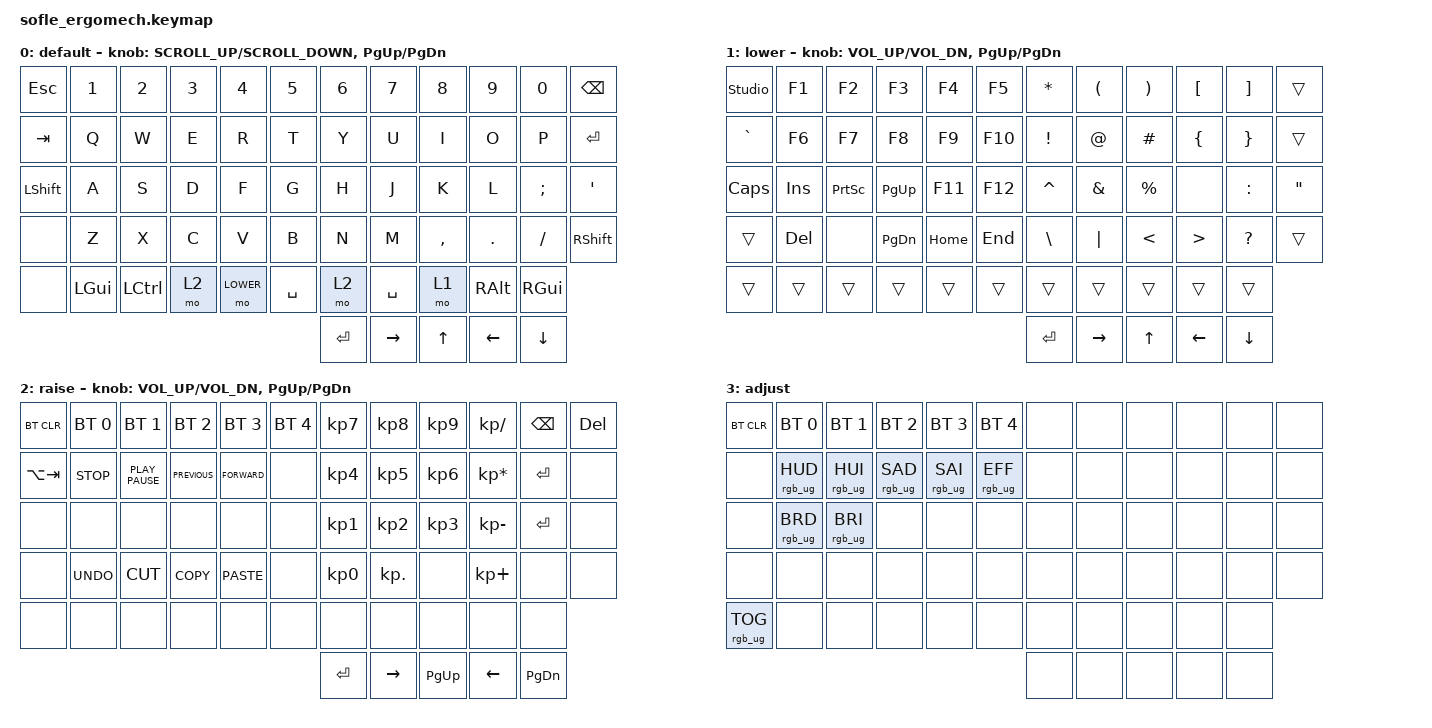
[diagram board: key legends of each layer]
/*
 * Copyright (c) 2020 The ZMK Contributors
 *
 * SPDX-License-Identifier: MIT
 */

#include <behaviors.dtsi>
#include <dt-bindings/zmk/bt.h>
#include <dt-bindings/zmk/keys.h>
#include <dt-bindings/zmk/rgb.h>

#define BASE 0
#define LOWER 1
#define RAISE 2
#define ADJUST 3

/ {
    // Activate ADJUST layer by pressing raise and lower

    conditional_layers {
        compatible = "zmk,conditional-layers";

        adjust_layer {
            if-layers = <LOWER RAISE>;
            then-layer = <ADJUST>;
        };
    };

    keymap {
        compatible = "zmk,keymap";

        default_layer {
            label = "default";

            // ------------------------------------------------------------------------------------------------------------
            // |   `   |  1  |  2  |  3   |  4   |  5   |                   |  6   |  7    |  8    |  9   |   0   |       |
            // |  ESC  |  Q  |  W  |  E   |  R   |  T   |                   |  Y   |  U    |  I    |  O   |   P   | BKSPC |
            // |  TAB  |  A  |  S  |  D   |  F   |  G   |                   |  H   |  J    |  K    |  L   |   ;   |   '   |
            // | SHIFT |  Z  |  X  |  C   |  V   |  B   |  MUTE  |  |       |  N   |  M    |  ,    |  .   |   /   | SHIFT |
            //               | GUI | ALT  | CTRL | LOWER|  ENTER |  | SPACE | RAISE| CTRL  | ALT   | GUI  |

            bindings = <
&kp ESCAPE      &kp N1    &kp N2            &kp N3  &kp N4     &kp N5     &kp N6     &kp N7     &kp N8        &kp N9    &kp N0    &kp BACKSPACE
&kp TAB         &kp Q     &kp W             &kp E   &kp R      &kp T      &kp Y      &kp U      &kp I         &kp O     &kp P     &kp ENTER
&kp LEFT_SHIFT  &kp A     &kp S             &kp D   &kp F      &kp G      &kp H      &kp J      &kp K         &kp L     &kp SEMI  &kp SQT
&none           &kp Z     &kp X             &kp C   &kp V      &kp B      &kp N      &kp M      &kp COMMA     &kp DOT   &kp FSLH  &kp RSHFT
&none           &kp LGUI  &kp LEFT_CONTROL  &mo 2   &mo LOWER  &kp SPACE  &mo 2      &kp SPACE  &mo 1         &kp RALT  &kp RGUI
                                                                          &kp ENTER  &kp RIGHT  &kp UP_ARROW  &kp LEFT  &kp DOWN
            >;

            sensor-bindings =
                <&inc_dec_kp K_SCROLL_UP K_SCROLL_DOWN>,
                <&inc_dec_kp PG_UP PG_DN>;
        };

        lower_layer {
            label = "lower";

            // TODO: Some binds are waiting for shifted keycode support.
            // ------------------------------------------------------------------------------------------------------------
            // |       |  F1 |  F2 |  F3  |  F4  |  F5  |                   |  F6  |  F7   |  F8   |  F9  |  F10  |  F11  |
            // |   `   |  1  |  2  |  3   |  4   |  5   |                   |  6   |  7    |  8    |  9   |   0   |  F12  |
            // |       |  !  |  @  |  #   |  $   |  %   |                   |  ^   |  &    |  *    |  (   |   )   |   |   |
            // |       |  =  |  -  |  +   |  {   |  }   |        |  |       |  [   |  ]    |  ;    |  :   |   \   |       |
            //               |     |      |      |      |        |  |       |      |       |       |      |

            bindings = <
&studio_unlock  &kp F1   &kp F2           &kp F3     &kp F4    &kp F5   &kp ASTERISK     &kp LEFT_PARENTHESIS  &kp RIGHT_PARENTHESIS  &kp LEFT_BRACKET  &kp RIGHT_BRACKET  &trans
&kp GRAVE       &kp F6   &kp F7           &kp F8     &kp F9    &kp F10  &kp EXCLAMATION  &kp AT_SIGN           &kp HASH               &kp LEFT_BRACE    &kp RIGHT_BRACE    &trans
&kp CAPSLOCK    &kp INS  &kp PRINTSCREEN  &kp PG_UP  &kp F11   &kp F12  &kp CARET        &kp AMPS              &kp PERCENT            &none             &kp COLON          &kp DOUBLE_QUOTES
&trans          &kp DEL  &none            &kp PG_DN  &kp HOME  &kp END  &kp BACKSLASH    &kp PIPE              &kp LESS_THAN          &kp GREATER_THAN  &kp QUESTION       &trans
&trans          &trans   &trans           &trans     &trans    &trans   &trans           &trans                &trans                 &trans            &trans
                                                                        &kp ENTER        &kp RIGHT_ARROW       &kp UP_ARROW           &kp LEFT_ARROW    &kp DOWN_ARROW
            >;

            sensor-bindings = <&inc_dec_kp C_VOL_UP C_VOL_DN &inc_dec_kp PG_UP PG_DN>;
        };

        raise_layer {
            label = "raise";

            // ------------------------------------------------------------------------------------------------------------
            // | BTCLR | BT1  | BT2  |  BT3  |  BT4  |  BT5 |                |      |      |       |      |       |       |
            // |       | INS  | PSCR | GUI   |       |      |                | PGUP |      |   ^   |      |       |       |
            // |       | ALT  | CTRL | SHIFT |       | CAPS |                | PGDN |   <- |   v   |  ->  |  DEL  | BKSPC |
            // |       | UNDO | CUT  | COPY  | PASTE |      |      |  |      |      |      |       |      |       |       |
            //                |      |       |       |      |      |  |      |      |      |       |      |

            bindings = <
&bt BT_CLR   &bt BT_SEL 0  &bt BT_SEL 1      &bt BT_SEL 2    &bt BT_SEL 3   &bt BT_SEL 4  &kp KP_NUMBER_7  &kp KP_NUMBER_8  &kp KP_NUMBER_9  &kp KP_DIVIDE    &kp BSPC       &kp DEL
&kp LA(TAB)  &kp K_STOP    &kp K_PLAY_PAUSE  &kp K_PREVIOUS  &kp K_FORWARD  &none         &kp KP_NUMBER_4  &kp KP_NUMBER_5  &kp KP_NUMBER_6  &kp KP_MULTIPLY  &kp RET        &none
&none        &none         &none             &none           &none          &none         &kp KP_NUMBER_1  &kp KP_NUMBER_2  &kp KP_NUMBER_3  &kp KP_SUBTRACT  &kp RET        &none
&none        &kp K_UNDO    &kp K_CUT         &kp K_COPY      &kp K_PASTE    &none         &kp KP_NUMBER_0  &kp KP_DOT       &none            &kp KP_PLUS      &none          &none
&none        &none         &none             &none           &none          &none         &none            &none            &none            &none            &none
                                                                                          &kp ENTER        &kp RIGHT_ARROW  &kp PAGE_UP      &kp LEFT_ARROW   &kp PAGE_DOWN
            >;

            sensor-bindings = <&inc_dec_kp C_VOL_UP C_VOL_DN &inc_dec_kp PG_UP PG_DN>;
        };

        adjust_layer {
            // ----------------------------------------------------------------------------------------------------------------------------
            // | BTCLR  |  BT1    |  BT2    |   BT3   |   BT4   |   BT5   |                  |      |      |       |      |       |       |
            // | EXTPWR | RGB_HUD | RGB_HUI | RGB_SAD | RGB_SAI | RGB_EFF |                  |      |      |       |      |       |       |
            // |        | RGB_BRD | RGB_BRI |         |         |         |                  |      |      |       |      |       |       |
            // |        |         |         |         |         |         | RGB_TOG | |      |      |      |       |      |       |       |
            //                    |         |         |         |         |         | |      |      |      |       |      |

            label = "adjust";
            bindings = <
&bt BT_CLR       &bt BT_SEL 0     &bt BT_SEL 1     &bt BT_SEL 2     &bt BT_SEL 3     &bt BT_SEL 4     &none  &none  &none  &none  &none  &none
&none            &rgb_ug RGB_HUD  &rgb_ug RGB_HUI  &rgb_ug RGB_SAD  &rgb_ug RGB_SAI  &rgb_ug RGB_EFF  &none  &none  &none  &none  &none  &none
&none            &rgb_ug RGB_BRD  &rgb_ug RGB_BRI  &none            &none            &none            &none  &none  &none  &none  &none  &none
&none            &none            &none            &none            &none            &none            &none  &none  &none  &none  &none  &none
&rgb_ug RGB_TOG  &none            &none            &none            &none            &none            &none  &none  &none  &none  &none
                                                                                                      &none  &none  &none  &none  &none
            >;
        };
    };
};
